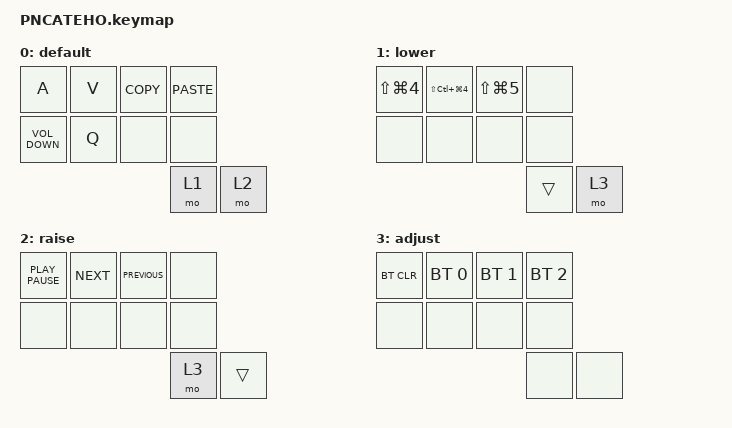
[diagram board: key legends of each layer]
/*
 * Copyright (c) 2020 The ZMK Contributors
 *
 * SPDX-License-Identifier: MIT
 */

#include <behaviors.dtsi>
#include <dt-bindings/zmk/bt.h>
#include <dt-bindings/zmk/keys.h>

&lt { quick_tap_ms = <200>; };

&mt { quick_tap_ms = <200>; };

/ {
    keymap {
        compatible = "zmk,keymap";

        default_layer {
            label = "default";
            bindings = <
&kp A              &kp V  &kp K_COPY  &kp K_PASTE
&kp K_VOLUME_DOWN  &kp Q  &none       &none
                                      &mo 1        &mo 2
            >;
        };

        lower_layer {
            label = "lower";
            bindings = <
&kp LS(LG(N4))  &kp LS(LC(LG(N4)))  &kp LS(LG(N5))  &none
&none           &none               &none           &none
                                                    &trans  &mo 3
            >;
        };

        raise_layer {
            label = "raise";
            bindings = <
&kp K_PLAY_PAUSE  &kp K_NEXT  &kp K_PREVIOUS  &none
&none             &none       &none           &none
                                              &mo 3  &trans
            >;
        };

        adjust_layer {
            label = "adjust";
            bindings = <
&bt BT_CLR  &bt BT_SEL 0  &bt BT_SEL 1  &bt BT_SEL 2
&none       &none         &none         &none
                                        &none         &none
            >;
        };
    };
};
